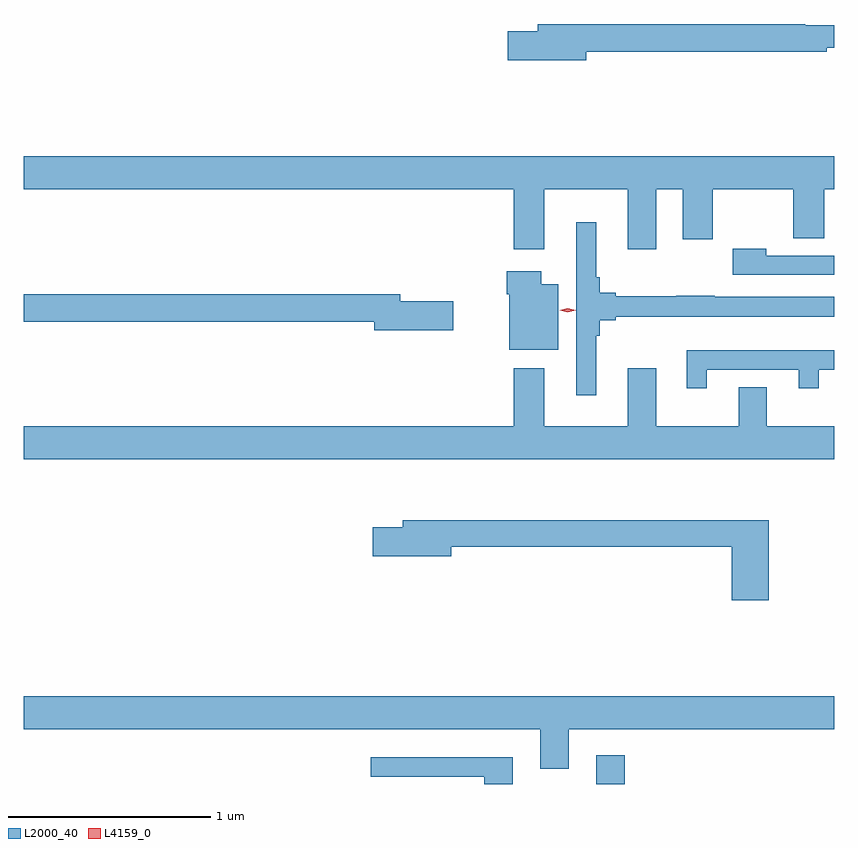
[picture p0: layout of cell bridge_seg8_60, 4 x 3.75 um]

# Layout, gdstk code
import gdstk
lib = gdstk.Library(unit=1e-6, precision=1e-09)
def R(c, l, rs):  # rectangles x0, y0, x1, y1
    for r in rs: c.add(gdstk.rectangle(r[:2], r[2:], *l))
def P(c, l, *ps):  # polygons
    for p in ps: c.add(gdstk.Polygon(p, *l))
L2000_40 = (2000, 40)
L4159_0 = (4159, 0)

bridge_seg8_60 = lib.new_cell('bridge_seg8_60')
R(bridge_seg8_60, L2000_40, [(1098.839,1116.231,1098.979,1116.373)])
P(bridge_seg8_60, L2000_40, [(1098.79,1119.844),(1099.976,1119.844),(1099.976,1119.863),(1100.014,1119.863),(1100.014,1119.973),(1099.87,1119.973),(1099.87,1119.98),(1098.551,1119.98),(1098.551,1119.944),(1098.402,1119.944),(1098.402,1119.802),(1098.79,1119.802)],
  [(1098.583,1119.164),(1098.995,1119.164),(1098.995,1118.868),(1099.135,1118.868),(1099.135,1119.164),(1099.265,1119.164),(1099.265,1118.919),(1099.413,1118.919),(1099.413,1119.164),(1099.81,1119.164),(1099.81,1118.923),(1099.964,1118.923),(1099.964,1119.164),(1100.014,1119.164),(1100.014,1119.328),(1096.014,1119.328),(1096.014,1119.164),(1098.431,1119.164),(1098.431,1118.868),(1098.583,1118.868)],
  [(1098.838,1118.441),(1098.857,1118.441),(1098.857,1118.518),(1098.934,1118.518),(1098.934,1118.536),(1099.19,1118.536),(1099.19,1118.537),(1100.014,1118.537),(1100.014,1118.634),(1099.424,1118.634),(1099.424,1118.639),(1099.234,1118.639),(1099.234,1118.637),(1098.934,1118.637),(1098.934,1118.654),(1098.857,1118.654),(1098.857,1118.731),(1098.838,1118.731),(1098.838,1119.001),(1098.741,1119.001),(1098.741,1118.148),(1098.838,1118.148)],
  [(1100.014,1118.838),(1099.677,1118.838),(1099.677,1118.871),(1099.512,1118.871),(1099.512,1118.742),(1100.014,1118.742)],
  [(1098.652,1118.695),(1098.568,1118.695),(1098.568,1118.761),(1098.398,1118.761),(1098.398,1118.648),(1098.41,1118.648),(1098.41,1118.372),(1098.652,1118.372)],
  [(1098.133,1118.612),(1097.872,1118.612),(1097.872,1118.648),(1096.014,1118.648),(1096.014,1118.512),(1097.744,1118.512),(1097.744,1118.47),(1098.133,1118.47)],
  [(1099.384,1118.274),(1099.838,1118.274),(1099.838,1118.184),(1099.936,1118.184),(1099.936,1118.274),(1100.014,1118.274),(1100.014,1118.371),(1099.286,1118.371),(1099.286,1118.184),(1099.384,1118.184)],
  [(1100.014,1117.996),(1099.681,1117.996),(1099.681,1118.189),(1099.541,1118.189),(1099.541,1117.996),(1099.135,1117.996),(1099.135,1118.281),(1098.995,1118.281),(1098.995,1117.996),(1098.583,1117.996),(1098.583,1118.281),(1098.431,1118.281),(1098.431,1117.996),(1096.014,1117.996),(1096.014,1117.832),(1100.014,1117.832)],
  [(1099.691,1117.531),(1097.885,1117.531),(1097.885,1117.497),(1097.736,1117.497),(1097.736,1117.355),(1098.124,1117.355),(1098.124,1117.402),(1099.508,1117.402),(1099.508,1117.137),(1099.691,1117.137)],
  [(1098.703,1116.5),(1100.014,1116.5),(1100.014,1116.664),(1096.014,1116.664),(1096.014,1116.5),(1098.563,1116.5),(1098.563,1116.306),(1098.703,1116.306)],
  [(1098.427,1116.364),(1097.727,1116.364),(1097.727,1116.267),(1098.287,1116.267),(1098.287,1116.231),(1098.427,1116.231)])
P(bridge_seg8_60, L4159_0, [(1098.699,1118.559),(1098.659,1118.568),(1098.659,1118.569),(1098.659,1118.569),(1098.699,1118.579),(1098.738,1118.569),(1098.738,1118.569),(1098.738,1118.569)])

lib.write_gds('bridge_seg8_60.gds')
